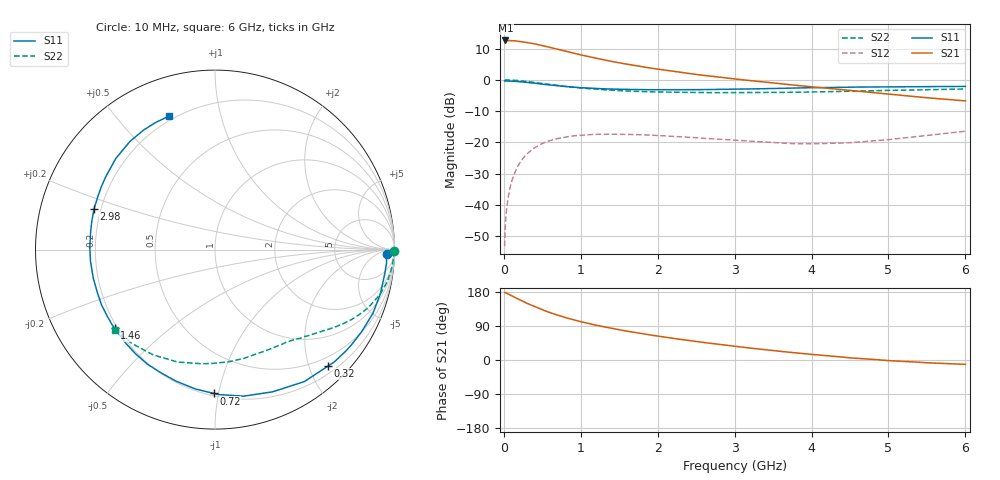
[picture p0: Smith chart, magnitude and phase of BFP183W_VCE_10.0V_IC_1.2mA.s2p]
! Infineon Technologies  Discrete & RF Semiconductors
! BFP183W
! VCE = 10.0V,  IC =  1.2 mA
! Common Emitter S-Parameters:  Jan 2016
# GHz  S  MA  R  50
!  f  S11  S21  S12  S22
! GHz  MAG  ANG  MAG  ANG  MAG  ANG  MAG  ANG
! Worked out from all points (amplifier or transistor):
!   210 points, 10 MHz to 6 GHz, reference 50 ohm
!   highest |S21| = 12.6 dB at 20 MHz (marker M1)
!   |S21| within 3 dB of that: start of sweep to 735.1 MHz
!   unconditionally stable (mu >= 1): 2.704 GHz to end of sweep
!   at 185 MHz: K = 0.08, MSG = 19.9 dB, |S12| = -27.5 dB
!   at 1.52 GHz: K = 0.55, MSG = 11.4 dB, |S12| = -17.4 dB
!   at 6 GHz: K = 1.06, MAG = 3.4 dB, |S12| = -16.4 dB
!   S11 on the Smith chart (normalised r, x): 10 MHz: 34, -24; 320 MHz: 0.33, -2.33; 720 MHz: 0.22, -0.97; 1.46 GHz: 0.19, -0.33; 2.98 GHz: 0.17, +0.16; 6 GHz: 0.18, +0.70
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0.01  0.9611 -1.6  4.236 178.2  0.0022 88.3  0.9968 -0.6
0.02  0.9564 -2.9  4.266 178.0  0.0046 88.8  0.991 -1.1
0.03  0.9588 -4.6  4.263 177.0  0.0074 87.7  0.9967 -1.7
0.05  0.9562 -7.4  4.262 174.9  0.0117 86.0  0.9952 -2.9
0.105  0.9528 -15.5  4.224 169.3  0.0246 80.1  0.9894 -6.0
0.2  0.9364 -29.3  4.132 159.2  0.0455 72.1  0.972 -11.3
0.32  0.9044 -45.8  3.91 147.9  0.0689 62.3  0.9374 -17.2
0.4  0.8881 -55.9  3.767 140.9  0.0824 56.5  0.912 -20.9
0.5  0.855 -67.9  3.534 132.3  0.0962 50.0  0.8777 -24.7
0.6  0.8321 -78.9  3.315 125.0  0.1072 43.9  0.844 -28.2
0.72  0.8013 -90.5  3.055 116.9  0.117 37.8  0.8088 -31.5
0.9  0.7644 -106.5  2.696 106.1  0.127 30.1  0.7617 -36.1
1.02  0.747 -115.1  2.476 100.2  0.131 25.6  0.7383 -38.7
1.2  0.7297 -127.5  2.217 91.7  0.135 19.8  0.7096 -42.4
1.46  0.7104 -142.0  1.911 81.4  0.1353 13.9  0.6779 -47.1
1.6  0.7051 -149.1  1.785 76.0  0.1348 11.3  0.6649 -49.4
2.02  0.6962 -167.3  1.474 62.5  0.129 5.5  0.6409 -56.6
2.98  0.7103 161.6  1.04 36.6  0.1088 1.8  0.6269 -74.5
3.1  0.713 158.3  1.004 33.9  0.1066 2.5  0.6267 -76.9
4.1  0.752 135.6  0.754 13.2  0.0957 15.7  0.6421 -99.0
5.1  0.7764 119.7  0.577 -2.6  0.1145 30.7  0.6817 -122.7
6  0.7866 109.2  0.461 -11.5  0.151 35.2  0.7151 -141.2
